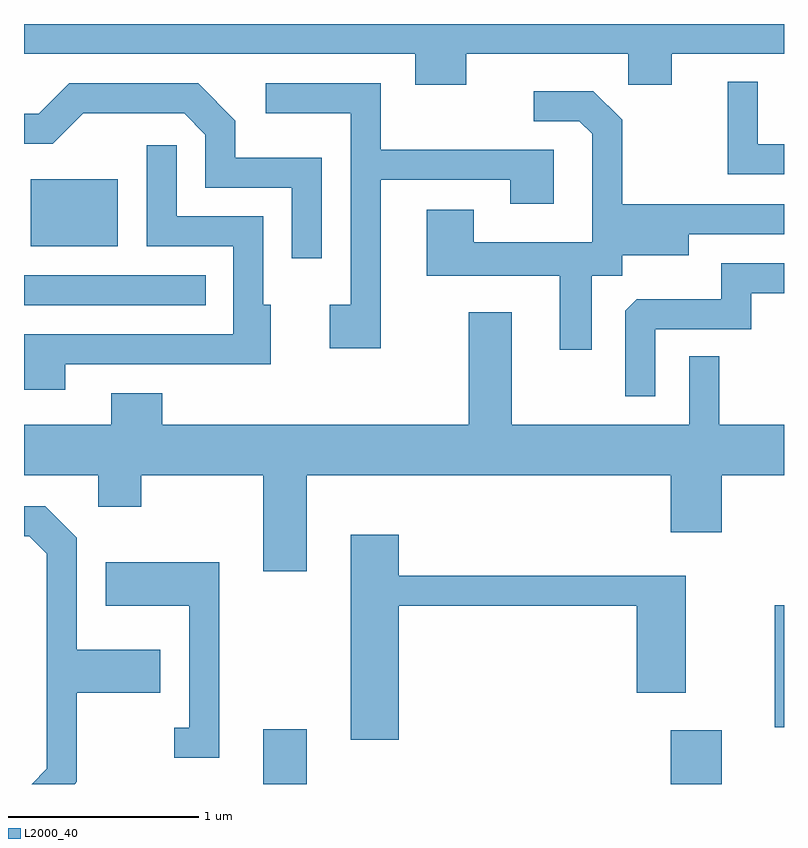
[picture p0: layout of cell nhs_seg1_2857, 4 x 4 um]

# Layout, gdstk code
import gdstk
lib = gdstk.Library(unit=1e-6, precision=1e-09)
def R(c, l, rs):  # rectangles x0, y0, x1, y1
    for r in rs: c.add(gdstk.rectangle(r[:2], r[2:], *l))
def P(c, l, *ps):  # polygons
    for p in ps: c.add(gdstk.Polygon(p, *l))
L2000_40 = (2000, 40)

nhs_seg1_2857 = lib.new_cell('nhs_seg1_2857')
R(nhs_seg1_2857, L2000_40, [(272.871,915.712,273.099,915.999), (275.016,915.712,275.284,915.994), (275.561,916.011,275.611,916.654), (271.611,918.231,272.568,918.389), (271.646,918.541,272.104,918.894)])
P(nhs_seg1_2857, L2000_40, [(273.939,919.556),(274.791,919.556),(274.791,919.391),(275.019,919.391),(275.019,919.556),(275.611,919.556),(275.611,919.712),(271.611,919.712),(271.611,919.556),(273.671,919.556),(273.671,919.391),(273.939,919.391)],
  [(275.611,919.079),(275.474,919.079),(275.474,919.408),(275.316,919.408),(275.316,918.921),(275.611,918.921)],
  [(273.489,918.891),(274.171,918.891),(274.171,918.766),(274.399,918.766),(274.399,919.049),(273.489,919.049),(273.489,919.399),(272.883,919.399),(272.883,919.241),(273.331,919.241),(273.331,918.234),(273.221,918.234),(273.221,918.006),(273.489,918.006)],
  [(273.179,919.009),(272.724,919.009),(272.724,919.202),(272.527,919.399),(271.849,919.399),(271.689,919.239),(271.611,919.239),(271.611,919.081),(271.762,919.081),(271.922,919.241),(272.454,919.241),(272.566,919.129),(272.566,918.851),(273.021,918.851),(273.021,918.478),(273.179,918.478)],
  [(274.599,918.386),(274.759,918.386),(274.759,918.496),(275.109,918.496),(275.109,918.606),(275.611,918.606),(275.611,918.764),(274.759,918.764),(274.759,919.207),(274.607,919.359),(274.293,919.359),(274.293,919.201),(274.534,919.201),(274.601,919.134),(274.601,918.564),(273.979,918.564),(273.979,918.734),(273.731,918.734),(273.731,918.386),(274.431,918.386),(274.431,917.998),(274.599,917.998)],
  [(271.829,917.921),(272.909,917.921),(272.909,918.234),(272.869,918.234),(272.869,918.699),(272.414,918.699),(272.414,919.073),(272.256,919.073),(272.256,918.541),(272.711,918.541),(272.711,918.079),(271.611,918.079),(271.611,917.786),(271.829,917.786)],
  [(274.934,918.106),(275.439,918.106),(275.439,918.296),(275.611,918.296),(275.611,918.454),(275.281,918.454),(275.281,918.264),(274.837,918.264),(274.776,918.204),(274.776,917.753),(274.934,917.753)],
  [(273.099,917.336),(275.016,917.336),(275.016,917.036),(275.284,917.036),(275.284,917.336),(275.611,917.336),(275.611,917.604),(275.269,917.604),(275.269,917.963),(275.111,917.963),(275.111,917.604),(274.179,917.604),(274.179,918.194),(273.951,918.194),(273.951,917.604),(272.339,917.604),(272.339,917.769),(272.071,917.769),(272.071,917.604),(271.611,917.604),(271.611,917.336),(272.001,917.336),(272.001,917.171),(272.229,917.171),(272.229,917.336),(272.871,917.336),(272.871,916.831),(273.099,916.831)],
  [(271.889,915.724),(271.889,916.191),(272.329,916.191),(272.329,916.419),(271.889,916.419),(271.889,917.007),(271.722,917.174),(271.611,917.174),(271.611,917.016),(271.639,917.016),(271.731,916.924),(271.731,915.792),(271.652,915.712),(271.877,915.712)],
  [(273.584,916.651),(274.836,916.651),(274.836,916.191),(275.094,916.191),(275.094,916.809),(273.584,916.809),(273.584,917.024),(273.331,917.024),(273.331,915.946),(273.584,915.946)],
  [(272.639,916.879),(272.041,916.879),(272.041,916.651),(272.481,916.651),(272.481,916.009),(272.403,916.009),(272.403,915.851),(272.639,915.851)])

lib.write_gds('nhs_seg1_2857.gds')
